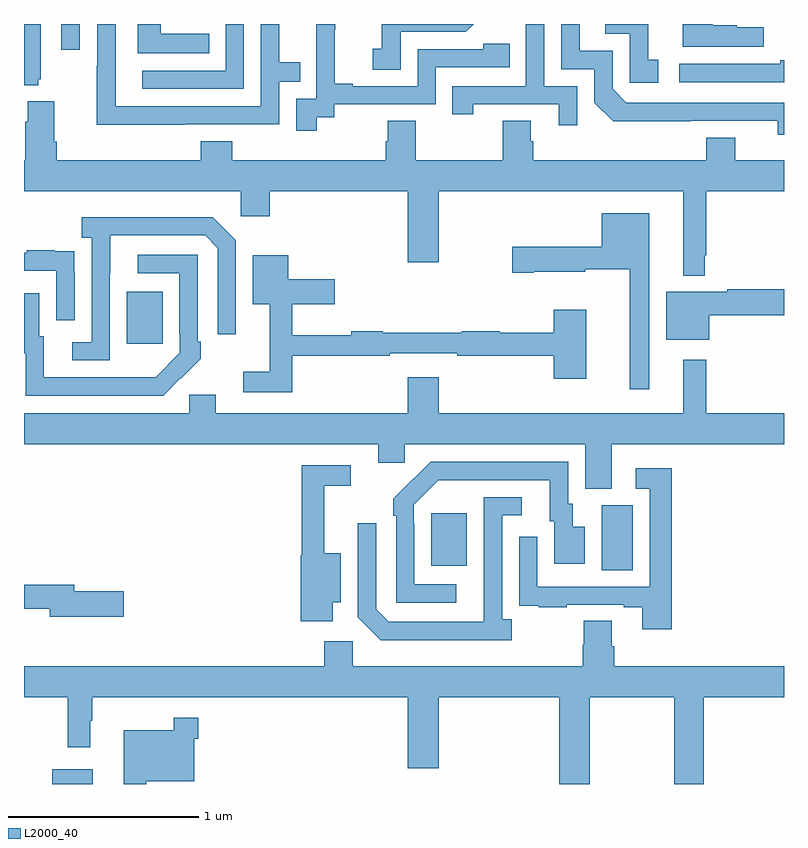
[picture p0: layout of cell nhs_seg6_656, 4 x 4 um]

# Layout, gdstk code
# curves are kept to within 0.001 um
import gdstk
lib = gdstk.Library(unit=1e-6, precision=1e-09)
def R(c, l, rs):  # rectangles x0, y0, x1, y1
    for r in rs: c.add(gdstk.rectangle(r[:2], r[2:], *l))
def P(c, l, *ps):  # polygons
    for p in ps: c.add(gdstk.Polygon(p, *l))
L2000_40 = (2000, 40)

nhs_seg6_656 = lib.new_cell('nhs_seg6_656')
R(nhs_seg6_656, L2000_40, [(151.148,993.5,151.363,993.577), (154.04,994.624,154.204,994.968), (153.143,994.649,153.331,994.924), (151.541,995.817,151.729,996.091), (151.197,997.365,151.293,997.5)])
P(nhs_seg6_656, L2000_40, [(151.847,996.972),(152.343,996.972),(152.343,997.197),(152.453,997.197),(152.453,997.298),(152.343,997.298),(152.343,997.5),(152.247,997.5),(152.247,997.068),(151.482,997.068),(151.482,997.5),(151.386,997.5),(151.386,997.277),(151.384,997.277),(151.384,996.971),(151.847,996.971)],
  [(154.894,997.483),(154.751,997.483),(154.751,997.493),(154.624,997.493),(154.624,997.5),(154.466,997.5),(154.466,997.379),(154.894,997.379)],
  [(154.339,997.311),(154.286,997.311),(154.286,997.5),(154.059,997.5),(154.059,997.449),(154.188,997.449),(154.188,997.191),(154.339,997.191)],
  [(151.076,997.209),(151.087,997.209),(151.087,997.5),(151,997.5),(151,997.178),(151.076,997.178)],
  [(153.912,997.173),(153.738,997.173),(153.738,997.5),(153.642,997.5),(153.642,997.173),(153.253,997.173),(153.253,997.026),(153.364,997.026),(153.364,997.077),(153.815,997.077),(153.815,996.966),(153.912,996.966)],
  [(152.982,997.458),(153.324,997.458),(153.366,997.5),(152.884,997.5),(152.884,997.369),(152.835,997.369),(152.835,997.26),(152.982,997.26)],
  [(152.542,997.009),(152.634,997.009),(152.634,997.077),(153.168,997.077),(153.168,997.272),(153.557,997.272),(153.557,997.395),(153.417,997.395),(153.417,997.368),(153.072,997.368),(153.072,997.173),(152.731,997.173),(152.731,997.186),(152.636,997.186),(152.636,997.469),(152.637,997.469),(152.637,997.5),(152.537,997.5),(152.537,997.337),(152.538,997.337),(152.538,997.107),(152.433,997.107),(152.433,996.939),(152.542,996.939)],
  [(155,997.086),(154.17,997.086),(154.098,997.158),(154.098,997.359),(153.925,997.359),(153.925,997.5),(153.828,997.5),(153.828,997.263),(154.002,997.263),(154.002,997.086),(154.1,996.989),(154.968,996.99),(154.968,996.917),(155,996.917)],
  [(152.157,997.5),(152.061,997.5),(152.061,997.254),(151.623,997.254),(151.623,997.158),(152.157,997.158)],
  [(151.976,997.45),(151.719,997.45),(151.719,997.5),(151.598,997.5),(151.598,997.346),(151.976,997.346)],
  [(155,997.31),(154.981,997.31),(154.981,997.29),(154.449,997.29),(154.449,997.194),(155,997.194)],
  [(151.159,996.88),(151.159,997.093),(151.019,997.093),(151.019,996.986),(151.007,996.986),(151.007,996.784),(151,996.784),(151,996.62),(152.142,996.62),(152.142,996.489),(152.294,996.489),(152.294,996.62),(153.02,996.62),(153.02,996.246),(153.184,996.246),(153.184,996.62),(154.469,996.62),(154.469,996.176),(154.584,996.176),(154.584,996.283),(154.591,996.283),(154.591,996.62),(155,996.62),(155,996.784),(154.744,996.784),(154.744,996.901),(154.592,996.901),(154.592,996.784),(153.68,996.784),(153.68,996.882),(153.667,996.882),(153.667,996.992),(153.52,996.992),(153.52,996.784),(153.063,996.784),(153.063,996.992),(152.915,996.992),(152.915,996.882),(152.903,996.882),(152.903,996.784),(152.096,996.784),(152.096,996.883),(151.931,996.883),(151.931,996.784),(151.172,996.784),(151.172,996.88)],
  [(154.291,996.505),(154.04,996.505),(154.04,996.327),(153.57,996.327),(153.57,996.19),(153.682,996.19),(153.682,996.197),(153.954,996.197),(153.954,996.209),(154.187,996.209),(154.187,995.577),(154.291,995.577)],
  [(151.452,996.187),(151.453,996.387),(151.953,996.387),(152.019,996.321),(152.019,995.868),(152.115,995.868),(152.115,996.363),(151.994,996.484),(151.305,996.484),(151.305,996.374),(151.356,996.374),(151.356,995.826),(151.254,995.826),(151.254,995.73),(151.452,995.73)],
  [(151.266,996.194),(151.265,996.194),(151.265,996.303),(151.163,996.303),(151.163,996.31),(151.015,996.31),(151.015,996.297),(151,996.297),(151,996.201),(151.17,996.201),(151.17,995.94),(151.266,995.94)],
  [(151.823,995.635),(151.824,995.634),(151.929,995.739),(151.929,995.827),(151.914,995.827),(151.914,996.285),(151.599,996.285),(151.599,996.189),(151.818,996.189),(151.818,995.869),(151.821,995.869),(151.821,995.769),(151.693,995.641),(151.105,995.64),(151.105,995.856),(151.081,995.856),(151.081,996.082),(151,996.082),(151,995.766),(151.008,995.766),(151.008,995.544),(151.732,995.544)],
  [(152.411,995.754),(152.924,995.754),(152.924,995.766),(153.28,995.766),(153.28,995.754),(153.788,995.754),(153.788,995.634),(153.958,995.634),(153.958,995.995),(153.788,995.995),(153.788,995.875),(153.504,995.875),(153.504,995.882),(153.304,995.882),(153.304,995.875),(152.888,995.875),(152.888,995.882),(152.722,995.882),(152.722,995.863),(152.411,995.863),(152.411,996.026),(152.635,996.026),(152.635,996.156),(152.392,996.156),(152.392,996.283),(152.204,996.283),(152.204,996.026),(152.294,996.026),(152.294,995.671),(152.154,995.671),(152.154,995.562),(152.411,995.562)],
  [(154.606,995.968),(155,995.968),(155,996.104),(154.702,996.104),(154.702,996.091),(154.379,996.091),(154.379,995.837),(154.606,995.837)],
  [(154.093,995.288),(155,995.288),(155,995.452),(154.591,995.452),(154.591,995.734),(154.469,995.734),(154.469,995.452),(153.184,995.452),(153.184,995.641),(153.02,995.641),(153.02,995.452),(152.008,995.452),(152.008,995.55),(151.869,995.55),(151.869,995.452),(151,995.452),(151,995.288),(152.864,995.288),(152.864,995.19),(153.003,995.19),(153.003,995.288),(153.953,995.288),(153.953,995.053),(154.093,995.053)],
  [(153.274,994.551),(153.054,994.551),(153.054,994.871),(153.051,994.871),(153.051,994.971),(153.18,995.1),(153.767,995.1),(153.767,994.884),(153.791,994.884),(153.791,994.659),(153.952,994.659),(153.952,994.855),(153.889,994.855),(153.889,994.974),(153.864,994.974),(153.864,995.196),(153.14,995.196),(152.943,995.001),(152.943,994.913),(152.958,994.913),(152.958,994.455),(153.274,994.455)],
  [(152.626,994.457),(152.668,994.457),(152.668,994.714),(152.579,994.714),(152.579,995.07),(152.719,995.07),(152.719,995.178),(152.461,995.178),(152.461,994.704),(152.456,994.704),(152.456,994.356),(152.626,994.356)],
  [(154.409,995.161),(154.221,995.161),(154.221,995.055),(154.293,995.055),(154.293,994.539),(153.702,994.539),(153.702,994.801),(153.606,994.801),(153.606,994.546),(153.607,994.546),(153.607,994.437),(153.709,994.437),(153.709,994.431),(153.857,994.431),(153.857,994.443),(154.157,994.443),(154.157,994.431),(154.253,994.431),(154.253,994.314),(154.409,994.314)],
  [(153.568,994.366),(153.516,994.366),(153.516,994.914),(153.619,994.914),(153.619,995.01),(153.42,995.01),(153.419,994.353),(152.919,994.353),(152.853,994.419),(152.853,994.873),(152.757,994.873),(152.757,994.377),(152.878,994.256),(153.568,994.256)],
  [(151.525,994.514),(151.264,994.514),(151.264,994.55),(151,994.55),(151,994.422),(151.136,994.422),(151.136,994.379),(151.525,994.379)],
  [(153.978,993.956),(154.423,993.956),(154.423,993.5),(154.578,993.5),(154.578,993.956),(155,993.956),(155,994.12),(154.106,994.12),(154.106,994.226),(154.093,994.226),(154.093,994.358),(153.946,994.358),(153.946,994.233),(153.941,994.233),(153.941,994.12),(152.73,994.12),(152.73,994.252),(152.579,994.252),(152.579,994.12),(151,994.12),(151,993.956),(151.231,993.956),(151.231,993.693),(151.348,993.693),(151.348,993.833),(151.36,993.833),(151.36,993.956),(153.02,993.956),(153.02,993.582),(153.184,993.582),(153.184,993.956),(153.818,993.956),(153.818,993.5),(153.978,993.5)],
  [(151.643,993.515),(151.896,993.515),(151.896,993.737),(151.916,993.737),(151.916,993.85),(151.788,993.85),(151.788,993.784),(151.526,993.784),(151.526,993.5),(151.643,993.5)])

lib.write_gds('nhs_seg6_656.gds')
